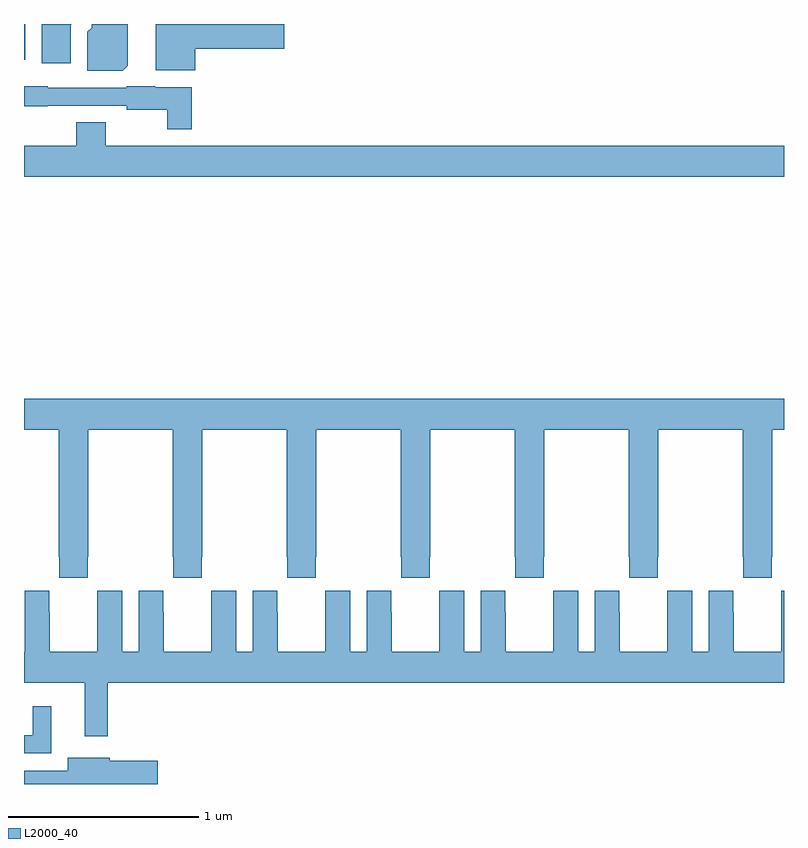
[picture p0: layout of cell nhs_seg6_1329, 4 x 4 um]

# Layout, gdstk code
import gdstk
lib = gdstk.Library(unit=1e-6, precision=1e-09)
def R(c, l, rs):  # rectangles x0, y0, x1, y1
    for r in rs: c.add(gdstk.rectangle(r[:2], r[2:], *l))
def P(c, l, *ps):  # polygons
    for p in ps: c.add(gdstk.Polygon(p, *l))
L2000_40 = (2000, 40)

nhs_seg6_1329 = lib.new_cell('nhs_seg6_1329')
R(nhs_seg6_1329, L2000_40, [(193,921.312,193.006,921.5)])
P(nhs_seg6_1329, L2000_40, [(193.9,921.371),(194.371,921.371),(194.371,921.5),(193.694,921.5),(193.694,921.257),(193.9,921.257)],
  [(193.246,921.498),(193.25,921.498),(193.25,921.5),(193.094,921.5),(193.094,921.294),(193.246,921.294)],
  [(193.546,921.28),(193.546,921.5),(193.356,921.5),(193.356,921.48),(193.334,921.458),(193.334,921.254),(193.52,921.254)],
  [(193.883,921.166),(193.692,921.166),(193.692,921.172),(193.542,921.172),(193.542,921.165),(193.125,921.165),(193.125,921.172),(193,921.172),(193,921.068),(193.125,921.068),(193.125,921.069),(193.542,921.069),(193.542,921.05),(193.755,921.05),(193.755,920.945),(193.883,920.945)],
  [(197,920.86),(193.431,920.86),(193.431,920.984),(193.276,920.984),(193.276,920.86),(193,920.86),(193,920.696),(197,920.696)],
  [(193.335,918.697),(193.338,918.697),(193.338,919.364),(193.783,919.364),(193.783,918.697),(193.785,918.697),(193.785,918.585),(193.935,918.585),(193.935,918.697),(193.938,918.697),(193.938,919.364),(194.383,919.364),(194.383,918.697),(194.385,918.697),(194.385,918.585),(194.535,918.585),(194.535,918.697),(194.538,918.697),(194.538,919.364),(194.983,919.364),(194.983,918.697),(194.985,918.697),(194.985,918.585),(195.135,918.585),(195.135,918.697),(195.138,918.697),(195.138,919.364),(195.583,919.364),(195.583,918.697),(195.585,918.697),(195.585,918.585),(195.735,918.585),(195.735,918.697),(195.738,918.697),(195.738,919.364),(196.183,919.364),(196.183,918.697),(196.185,918.697),(196.185,918.585),(196.335,918.585),(196.335,918.697),(196.338,918.697),(196.338,919.364),(196.783,919.364),(196.783,918.697),(196.785,918.697),(196.785,918.585),(196.935,918.585),(196.935,918.697),(196.938,918.697),(196.938,919.364),(197,919.364),(197,919.528),(193,919.528),(193,919.364),(193.183,919.364),(193.183,918.697),(193.185,918.697),(193.185,918.585),(193.335,918.585)],
  [(197,918.517),(196.986,918.517),(196.986,918.404),(196.985,918.404),(196.985,918.196),(196.735,918.196),(196.735,918.404),(196.734,918.404),(196.734,918.517),(196.604,918.517),(196.604,918.196),(196.516,918.196),(196.516,918.517),(196.386,918.517),(196.386,918.404),(196.385,918.404),(196.385,918.196),(196.135,918.196),(196.135,918.404),(196.134,918.404),(196.134,918.517),(196.004,918.517),(196.004,918.196),(195.916,918.196),(195.916,918.517),(195.786,918.517),(195.786,918.404),(195.785,918.404),(195.785,918.196),(195.535,918.196),(195.535,918.404),(195.534,918.404),(195.534,918.517),(195.404,918.517),(195.404,918.196),(195.316,918.196),(195.316,918.517),(195.186,918.517),(195.186,918.404),(195.185,918.404),(195.185,918.196),(194.935,918.196),(194.935,918.404),(194.934,918.404),(194.934,918.517),(194.804,918.517),(194.804,918.196),(194.716,918.196),(194.716,918.517),(194.586,918.517),(194.586,918.404),(194.585,918.404),(194.585,918.196),(194.335,918.196),(194.335,918.404),(194.334,918.404),(194.334,918.517),(194.204,918.517),(194.204,918.196),(194.116,918.196),(194.116,918.517),(193.986,918.517),(193.986,918.404),(193.985,918.404),(193.985,918.196),(193.735,918.196),(193.735,918.404),(193.734,918.404),(193.734,918.517),(193.604,918.517),(193.604,918.196),(193.516,918.196),(193.516,918.517),(193.386,918.517),(193.386,918.404),(193.385,918.404),(193.385,918.196),(193.135,918.196),(193.135,918.404),(193.134,918.404),(193.134,918.517),(193.004,918.517),(193.004,918.196),(193,918.196),(193,918.032),(193.319,918.032),(193.319,917.751),(193.441,917.751),(193.441,918.032),(197,918.032)],
  [(193.144,917.908),(193.046,917.908),(193.046,917.757),(193,917.757),(193,917.661),(193.144,917.661)],
  [(193.705,917.622),(193.452,917.622),(193.452,917.638),(193.229,917.638),(193.229,917.571),(193,917.571),(193,917.5),(193.705,917.5)])

lib.write_gds('nhs_seg6_1329.gds')
